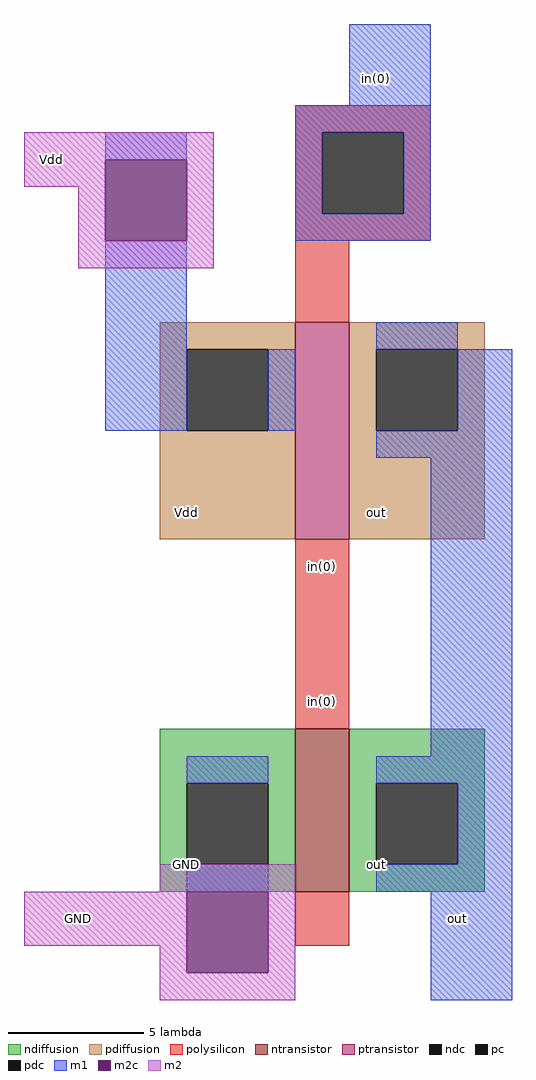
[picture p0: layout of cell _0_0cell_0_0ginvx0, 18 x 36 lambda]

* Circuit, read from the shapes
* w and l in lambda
.subckt _0_0cell_0_0ginvx0 GND Vdd out in(0)
M1 out in(0) GND VSUBS nfet w=6 l=2
M2 out in(0) Vdd NWELL pfet w=8 l=2
.ends

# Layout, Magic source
magic
tech sky130l
<< ndiffusion >>
rect 8 10 13 12
rect 8 7 9 10
rect 12 7 13 10
rect 8 6 13 7
rect 15 10 20 12
rect 15 7 16 10
rect 19 7 20 10
rect 15 6 20 7
<< ndc >>
rect 9 7 12 10
rect 16 7 19 10
<< ntransistor >>
rect 13 6 15 12
<< pdiffusion >>
rect 8 26 13 27
rect 8 23 9 26
rect 12 23 13 26
rect 8 19 13 23
rect 15 26 20 27
rect 15 23 16 26
rect 19 23 20 26
rect 15 19 20 23
<< pdc >>
rect 9 23 12 26
rect 16 23 19 26
<< ptransistor >>
rect 13 19 15 27
<< polysilicon >>
rect 13 34 18 35
rect 13 31 14 34
rect 17 31 18 34
rect 13 30 18 31
rect 13 27 15 30
rect 13 12 15 19
rect 13 4 15 6
<< pc >>
rect 14 31 17 34
<< m1 >>
rect 15 35 18 38
rect 13 34 18 35
rect 6 33 9 34
rect 13 31 14 34
rect 17 31 18 34
rect 13 30 18 31
rect 6 23 9 30
rect 16 26 19 27
rect 12 23 13 26
rect 19 23 21 26
rect 16 22 21 23
rect 18 11 21 22
rect 9 10 12 11
rect 9 6 12 7
rect 16 10 21 11
rect 19 7 21 10
rect 16 6 21 7
rect 18 2 21 6
<< m2c >>
rect 6 30 9 33
rect 9 3 12 6
<< m2 >>
rect 3 33 10 34
rect 3 32 6 33
rect 5 30 6 32
rect 9 30 10 33
rect 5 29 10 30
rect 8 6 13 7
rect 3 4 9 6
rect 8 3 9 4
rect 12 3 13 6
rect 8 2 13 3
<< labels >>
rlabel ndiffusion 16 7 16 7 3 out
rlabel pdiffusion 16 20 16 20 3 out
rlabel polysilicon 14 13 14 13 3 in(0)
rlabel polysilicon 14 18 14 18 3 in(0)
rlabel ndiffusion 9 7 9 7 3 GND
rlabel pdiffusion 9 20 9 20 3 Vdd
rlabel m1 19 5 19 5 3 out
port 3 e
rlabel m2 4 33 4 33 3 Vdd
port 2 e
rlabel m1 16 36 16 36 3 in(0)
port 4 e
rlabel m2 5 5 5 5 3 GND
port 1 e
<< end >>
